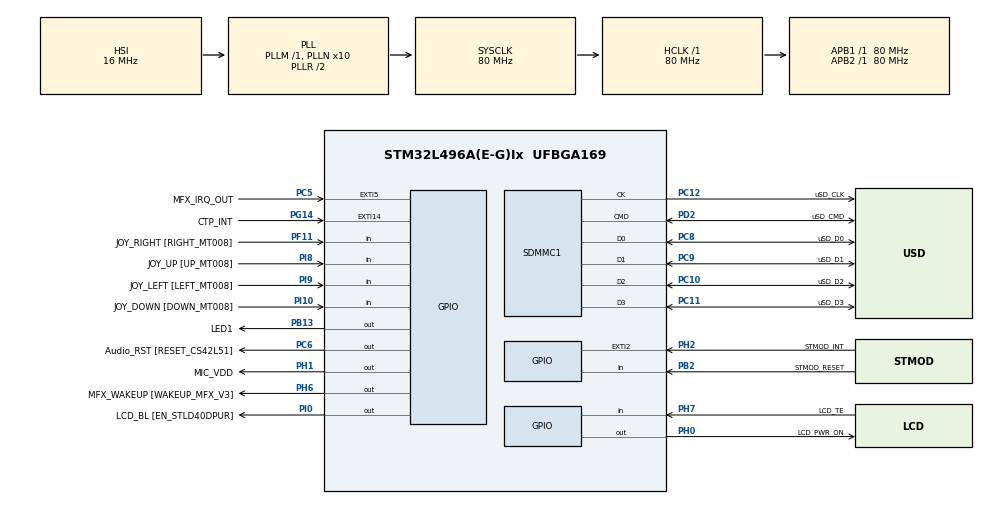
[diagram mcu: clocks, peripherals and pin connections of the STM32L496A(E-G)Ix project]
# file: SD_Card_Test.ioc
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Dma.Request0=SDMMC1
Dma.SDMMC1.0.Direction=DMA_PERIPH_TO_MEMORY
Dma.SDMMC1.0.Instance=DMA2_Channel4
Dma.SDMMC1.0.MemDataAlignment=DMA_MDATAALIGN_WORD
Dma.SDMMC1.0.MemInc=DMA_MINC_ENABLE
Dma.SDMMC1.0.Mode=DMA_NORMAL
Dma.SDMMC1.0.PeriphDataAlignment=DMA_PDATAALIGN_WORD
Dma.SDMMC1.0.PeriphInc=DMA_PINC_DISABLE
Dma.SDMMC1.0.Priority=DMA_PRIORITY_LOW
FATFS.USE_DMA_CODE_SD=1
FREERTOS.Tasks01=defaultTask,0,1000,StartDefaultTask,Default,NULL,Dynamic,NULL,NULL
FREERTOS.configTOTAL_HEAP_SIZE=10000
FREERTOS.configUSE_NEWLIB_REENTRANT=1
Mcu.Family=STM32L4
Mcu.Name=STM32L496A(E-G)Ix
Mcu.Package=UFBGA169
NVIC.DMA2_Channel4_IRQn=true\:5\:0\:false\:false\:true\:true\:false\:true\:true
NVIC.PriorityGroup=NVIC_PRIORITYGROUP_4
NVIC.SDMMC1_IRQn=true\:5\:0\:false\:false\:true\:true\:true\:true\:true
NVIC.TIM1_UP_TIM16_IRQn=true\:15\:0\:false\:false\:true\:false\:false\:true\:true
NVIC.TimeBase=TIM1_UP_TIM16_IRQn
NVIC.TimeBaseIP=TIM1
PA0.GPIO_Label=STMOD_PWM
PA0.Signal=SYS_WKUP1
PA1.GPIO_Label=ARD_A4
PA1.Signal=ADCx_IN6
PA10.GPIO_Label=USB_OTGFS_ID
PA10.Signal=USB_OTG_FS_ID
PA11.GPIO_Label=USB_OTGFS_DM
PA11.Signal=USB_OTG_FS_DM
PA12.GPIO_Label=USB_OTGFS_DP
PA12.Signal=USB_OTG_FS_DP
PA13\ (JTMS/SWDIO).GPIO_Label=SWDIO
PA13\ (JTMS/SWDIO).Signal=SYS_JTMS-SWDIO
PA14\ (JTCK/SWCLK).GPIO_Label=SWCLK
PA14\ (JTCK/SWCLK).Signal=SYS_JTCK-SWCLK
PA15\ (JTDI).GPIO_Label=ARD_D10
PA15\ (JTDI).Signal=SPI1_NSS
PA2.GPIO_Label=USART2_TX
PA2.Signal=USART2_TX
PA3.GPIO_Label=QSPI_CLK [MX25R6435FM2IL0_SCLK]
PA3.Signal=QUADSPI_CLK
PA4.GPIO_Label=STMOD_ADC
PA4.Signal=ADCx_IN9
PA5.GPIO_Label=ARD_D13
PA5.Signal=SPI1_SCK
PA6.GPIO_Label=QSPI_BK1_IO3 [MX25R6435FM2IL0_SIO3]
PA6.Signal=QUADSPI_BK1_IO3
PA7.GPIO_Label=QSPI_BK1_IO2 [MX25R6435FM2IL0_SIO2]
PA7.Signal=QUADSPI_BK1_IO2
PA8.GPIO_Label=DCMI_CLK
PA8.Signal=LPTIM2_OUT
PA9.GPIO_Label=USB_OTGFS_VBUS
PA9.Signal=USB_OTG_FS_VBUS
PB0.GPIO_Label=QSPI_BK1_IO1 [MX25R6435FM2IL0_SIO1]
PB0.Signal=QUADSPI_BK1_IO1
PB1.GPIO_Label=QSPI_BK1_IO0 [MX25R6435FM2IL0_SIO0]
PB1.Signal=QUADSPI_BK1_IO0
PB10.GPIO_Label=SAI1_CKA [SLCK_CS42L51]
PB10.Signal=SAI1_SCK_A
PB11.GPIO_Label=QSPI_BK1_NCS [MX25R6435FM2IL0_CS]
PB11.Signal=QUADSPI_BK1_NCS
PB12.GPIO_Label=DFDATIN1
PB12.Signal=S_DATAIN1DFSDM1
PB13.GPIO_Label=LED1
PB13.GPIO_ModeDefaultOutputPP=GPIO_MODE_OUTPUT_OD
PB13.GPIO_PuPd=GPIO_NOPULL
PB13.Signal=GPIO_Output
PB14.GPIO_Label=I2C2_SDA [CS42L51_SDA]
PB14.Signal=I2C2_SDA
PB15.GPIO_Label=SPI2_MOSI
PB15.Signal=SPI2_MOSI
PB2.GPIO_Label=STMOD_RESET
PB2.Signal=GPIO_Input
PB3\ (JTDO/TRACESWO).GPIO_Label=SWO
PB3\ (JTDO/TRACESWO).Signal=SYS_JTDO-SWO
PB4\ (NJTRST).GPIO_Label=ARD_D12
PB4\ (NJTRST).Signal=SPI1_MISO
PB5.GPIO_Label=ARD_D11
PB5.Signal=SPI1_MOSI
PB6.GPIO_Label=USART1_TX
PB6.Signal=USART1_TX
PB7.GPIO_Label=I2C1_SDA
PB7.Signal=I2C1_SDA
PB8.GPIO_Label=I2C1_SCL
PB8.Signal=I2C1_SCL
PB9.GPIO_Label=ARD_D5
PB9.Signal=S_TIM4_CH4
PC0.GPIO_Label=ARD_A5
PC0.Signal=ADCx_IN1
PC1.Signal=ADCx_IN2
PC10.GPIO_Label=uSD_D2
PC10.Mode=SD_4_bits_Wide_bus
PC10.Signal=SDMMC1_D2
PC11.GPIO_Label=uSD_D3
PC11.Mode=SD_4_bits_Wide_bus
PC11.Signal=SDMMC1_D3
PC12.GPIO_Label=uSD_CLK
PC12.Mode=SD_4_bits_Wide_bus
PC12.Signal=SDMMC1_CK
PC13.GPIO_Label=JOY_SEL [Selection_MT008]
PC13.Signal=SYS_WKUP2
PC14-OSC32_IN\ (PC14).Mode=LSE-External-Oscillator
PC14-OSC32_IN\ (PC14).Signal=RCC_OSC32_IN
PC15-OSC32_OUT\ (PC15).Mode=LSE-External-Oscillator
PC15-OSC32_OUT\ (PC15).Signal=RCC_OSC32_OUT
PC2.GPIO_Label=DF_CKOUT
PC2.Signal=S_CKOUTDFSDM1
PC3.GPIO_Label=ARD_A2
PC3.Signal=ADCx_IN4
PC4.GPIO_Label=ARD_A0
PC4.Signal=ADCx_IN13
PC5.GPIO_Label=MFX_IRQ_OUT
PC5.Signal=GPXTI5
PC6.GPIO_Label=Audio_RST [RESET_CS42L51]
PC6.Signal=GPIO_Output
PC7.GPIO_Label=DATIN3 [DOUT_MP34DT01TR]
PC7.Signal=S_DATAIN3DFSDM1
PC8.GPIO_Label=uSD_D0
PC8.Mode=SD_4_bits_Wide_bus
PC8.Signal=SDMMC1_D0
PC9.GPIO_Label=uSD_D1
PC9.Mode=SD_4_bits_Wide_bus
PC9.Signal=SDMMC1_D1
PD0.GPIO_Label=D2 [D2_ IS66WV51216EBLL]
PD0.Signal=FMC_D2_DA2
PD1.GPIO_Label=D3 [D3_IS66WV51216EBLL]
PD1.Signal=FMC_D3_DA3
PD10.GPIO_Label=D15 [D15_IS66WV51216EBLL]
PD10.Signal=FMC_D15_DA15
PD11.GPIO_Label=PSRAM_A16 [A16_IS66WV51216EBLL]
PD11.Signal=FMC_A16_CLE
PD12.GPIO_Label=PSRAM_A17 [A17_IS66WV51216EBLL]
PD12.Signal=FMC_A17_ALE
PD13.GPIO_Label=PSRAM_A18_LCD_RS [A18_IS66WV51216EBLL]
PD13.Signal=FMC_A18
PD14.GPIO_Label=D0 [D0_IS66WV51216EBLL]
PD14.Signal=FMC_D0_DA0
PD15.GPIO_Label=D1 [D1_IS66WV51216EBLL]
PD15.Signal=FMC_D1_DA1
PD2.GPIO_Label=uSD_CMD
PD2.Mode=SD_4_bits_Wide_bus
PD2.Signal=SDMMC1_CMD
PD4.GPIO_Label=OE [OE_IS66WV51216EBLL]
PD4.Signal=FMC_NOE
PD5.GPIO_Label=WE [WE_IS66WV51216EBLL]
PD5.Signal=FMC_NWE
PD6.GPIO_Label=USART2_RX
PD6.Signal=USART2_RX
PD7.GPIO_Label=LCD_NE
PD7.Signal=FMC_NE1
PD8.GPIO_Label=D13 [D13_IS66WV51216EBLL]
PD8.Signal=FMC_D13_DA13
PD9.GPIO_Label=D14 [D14_IS66WV51216EBLL]
PD9.Signal=FMC_D14_DA14
PE0.GPIO_Label=PSRAM_NBL0 [LB_IS66WV51216EBLL]
PE0.Signal=FMC_NBL0
PE1.GPIO_Label=PSRAM_NBL1 [UB_IS66WV51216EBLL]
PE1.Signal=FMC_NBL1
PE10.GPIO_Label=D7 [D7_IS66WV51216EBLL]
PE10.Signal=FMC_D7_DA7
PE11.GPIO_Label=D8  [D8_IS66WV51216EBLL]
PE11.Signal=FMC_D8_DA8
PE12.GPIO_Label=D9 [D9_IS66WV51216EBLL]
PE12.Signal=FMC_D9_DA9
PE13.GPIO_Label=D10 [D10_IS66WV51216EBLL]
PE13.Signal=FMC_D10_DA10
PE14.GPIO_Label=D11 [D11_IS66WV51216EBLL]
PE14.Signal=FMC_D11_DA11
PE15.GPIO_Label=D12 [D12_IS66WV51216EBLL]
PE15.Signal=FMC_D12_DA12
PE2.GPIO_Label=SAI1_MCKA [MCLK_CS42L51]
PE2.Signal=SAI1_MCLK_A
PE3.GPIO_Label=SAI1_SDB [SDOUT_CS42L51]
PE3.Signal=SAI1_SD_B
PE4.GPIO_Label=SAI1_FSA [LRCK_CS42L51]]
PE4.Signal=SAI1_FS_A
PE5.GPIO_Label=DCMI_D6
PE5.Signal=DCMI_D6
PE6.GPIO_Label=SAI1_SDA [SDIN_CS42L51]
PE6.Signal=SAI1_SD_A
PE7.GPIO_Label=D4 [D4_IS66WV51216EBLL]
PE7.Signal=FMC_D4_DA4
PE8.GPIO_Label=D5 [D5_IS66WV51216EBLL]
PE8.Signal=FMC_D5_DA5
PE9.GPIO_Label=D6 [D6_IS66WV51216EBLL]
PE9.Signal=FMC_D6_DA6
PF0.GPIO_Label=PSRAM_A0 [A0_IS66WV51216EBLL]
PF0.Signal=FMC_A0
PF1.GPIO_Label=PSRAM_A1 [A1_IS66WV51216EBLL]
PF1.Signal=FMC_A1
PF10.GPIO_Label=ARD_A3
PF10.Signal=ADC3_IN13
PF11.GPIO_Label=JOY_RIGHT [RIGHT_MT008]
PF11.GPIO_PuPd=GPIO_PULLDOWN
PF11.Signal=GPIO_Input
PF12.GPIO_Label=PSRAM_A6 [A6_IS66WV51216EBLL]
PF12.Signal=FMC_A6
PF13.GPIO_Label=PSRAM_A7 [A7_IS66WV51216EBLL]
PF13.Signal=FMC_A7
PF14.GPIO_Label=PSRAM_A8 [A8_IS66WV51216EBLL]
PF14.Signal=FMC_A8
PF15.GPIO_Label=PSRAM_A9 [A9_IS66WV51216EBLL]
PF15.Signal=FMC_A9
PF2.GPIO_Label=PSRAM_A2 [A2_IS66WV51216EBLL]
PF2.Signal=FMC_A2
PF3.GPIO_Label=PSRAM_A3 [A3_IS66WV51216EBLL]
PF3.Signal=FMC_A3
PF4.GPIO_Label=PSRAM_A4 [A4_IS66WV51216EBLL]
PF4.Signal=FMC_A4
PF5.GPIO_Label=PSRAM_A5 [A5_IS66WV51216EBLL]
PF5.Signal=FMC_A5
PG0.GPIO_Label=PSRAM_A10 [A10_IS66WV51216EBLL]
PG0.Signal=FMC_A10
PG1.GPIO_Label=PSRAM_A11 [A11_IS66WV51216EBLL]
PG1.Signal=FMC_A11
PG10.GPIO_Label=UART1_RX [STMOD+_UART]
PG10.Signal=USART1_RX
PG11.GPIO_Label=UART1_CTS [STMOD+_UART]
PG11.Signal=USART1_CTS
PG12.GPIO_Label=UART1_RTS [STMOD+_UART]
PG12.Signal=USART1_RTS
PG14.GPIO_Label=CTP_INT
PG14.Signal=GPXTI14
PG2.GPIO_Label=PSRAM_A12 [A12_IS66WV51216EBLL]
PG2.Signal=FMC_A12
PG3.GPIO_Label=PSRAM_A13 [A13_IS66WV51216EBLL]
PG3.Signal=FMC_A13
PG4.GPIO_Label=PSRAM_A14 [A14_IS66WV51216EBLL]
PG4.Signal=FMC_A14
PG5.GPIO_Label=PSRAM_A15 [A15_IS66WV51216EBLL]
PG5.Signal=FMC_A15
PG7.GPIO_Label=ARD_D1
PG7.Signal=LPUART1_TX
PG8.GPIO_Label=ARD_D0
PG8.Signal=LPUART1_RX
PG9.GPIO_Label=PSRAM_NE [CS1_IS66WV51216EBLL]
PG9.Signal=FMC_NE2
PH0-OSC_IN\ (PH0).GPIO_Label=LCD_PWR_ON
PH0-OSC_IN\ (PH0).Signal=GPIO_Output
PH1-OSC_OUT\ (PH1).GPIO_Label=MIC_VDD
PH1-OSC_OUT\ (PH1).Signal=GPIO_Output
PH10.GPIO_Label=DCMI_D1
PH10.Signal=DCMI_D1
PH11.GPIO_Label=DCMI_D2
PH11.Signal=DCMI_D2
PH12.GPIO_Label=DCMI_D3
PH12.Signal=DCMI_D3
PH13.GPIO_Label=ARD_D9
PH13.Signal=TIM8_CH1N
PH14.GPIO_Label=DCMI_D4
PH14.Signal=DCMI_D4
PH15.GPIO_Label=ARD_D3
PH15.Signal=TIM8_CH3N
PH2.GPIO_Label=STMOD_INT
PH2.Signal=GPXTI2
PH4.GPIO_Label=I2C2_SCL [SCL_CS42L51]
PH4.Signal=I2C2_SCL
PH5.GPIO_Label=DCMI_PIXCK
PH5.Signal=DCMI_PIXCLK
PH6.GPIO_Label=MFX_WAKEUP [WAKEUP_MFX_V3]
PH6.Signal=GPIO_Output
PH7.GPIO_Label=LCD_TE
PH7.Signal=GPIO_Input
PH8.GPIO_Label=DCMI_HSYNC
PH8.Signal=DCMI_HSYNC
PH9.GPIO_Label=DCMI_D0
PH9.Signal=DCMI_D0
PI0.GPIO_Label=LCD_BL [EN_STLD40DPUR]
PI0.Signal=GPIO_Output
PI1.GPIO_Label=SPI2_CLK [STMOD+_SPI]
PI1.Signal=SPI2_SCK
PI10.GPIO_Label=JOY_DOWN [DOWN_MT008]
PI10.GPIO_PuPd=GPIO_PULLDOWN
PI10.Signal=GPIO_Input
PI2.GPIO_Label=SPI2_MISO [STMOD+_SPI]
PI2.Signal=SPI2_MISO
PI4.GPIO_Label=DCMI_D5
PI4.Signal=DCMI_D5
PI5.GPIO_Label=DCMI_VSYNC
PI5.Signal=DCMI_VSYNC
PI6.GPIO_Label=ARD_D6
PI6.Signal=S_TIM8_CH2
PI7.GPIO_Label=DCMI_D7
PI7.Signal=DCMI_D7
PI8.GPIO_Label=JOY_UP [UP_MT008]
PI8.GPIO_PuPd=GPIO_PULLDOWN
PI8.Signal=GPIO_Input
PI9.GPIO_Label=JOY_LEFT [LEFT_MT008]
PI9.GPIO_PuPd=GPIO_PULLDOWN
PI9.Signal=GPIO_Input
ProjectManager.HeapSize=0x400
ProjectManager.StackSize=0x800
ProjectManager.TargetToolchain=STM32CubeIDE
RCC.ADCFreq_Value=64000000
RCC.AHBFreq_Value=80000000
RCC.APB1Freq_Value=80000000
RCC.APB1TimFreq_Value=80000000
RCC.APB2Freq_Value=80000000
RCC.APB2TimFreq_Value=80000000
RCC.CK48CLockSelection=RCC_USBCLKSOURCE_HSI48
RCC.CortexFreq_Value=80000000
RCC.HCLKFreq_Value=80000000
RCC.HSE_VALUE=8000000
RCC.HSI48_VALUE=48000000
RCC.HSI_VALUE=16000000
RCC.MSIClockRange=RCC_MSIRANGE_9
RCC.MSI_VALUE=24000000
RCC.PLLN=10
RCC.PLLSAI1Q=RCC_PLLQ_DIV4
RCC.PLLSourceVirtual=RCC_PLLSOURCE_HSI
RCC.SYSCLKFreq_VALUE=80000000
RCC.SYSCLKSource=RCC_SYSCLKSOURCE_PLLCLK
RCC.USBFreq_Value=48000000
RCC.VCOOutputFreq_Value=160000000
SDMMC1.ClockDiv=2
SH.ADCx_IN1.0=ADC2_IN1
SH.ADCx_IN13.0=ADC1_IN13
SH.ADCx_IN2.0=ADC2_IN2
SH.ADCx_IN4.0=ADC1_IN4
SH.ADCx_IN6.0=ADC2_IN6
SH.ADCx_IN9.0=ADC2_IN9
SH.FMC_A0.0=FMC_A0
SH.FMC_A1.0=FMC_A1
SH.FMC_A10.0=FMC_A10
SH.FMC_A11.0=FMC_A11
SH.FMC_A12.0=FMC_A12
SH.FMC_A13.0=FMC_A13
SH.FMC_A14.0=FMC_A14
SH.FMC_A15.0=FMC_A15
SH.FMC_A16_CLE.0=FMC_A16
SH.FMC_A17_ALE.0=FMC_A17
SH.FMC_A18.0=FMC_A18
SH.FMC_A2.0=FMC_A2
SH.FMC_A3.0=FMC_A3
SH.FMC_A4.0=FMC_A4
SH.FMC_A5.0=FMC_A5
SH.FMC_A6.0=FMC_A6
SH.FMC_A7.0=FMC_A7
SH.FMC_A8.0=FMC_A8
SH.FMC_A9.0=FMC_A9
SH.FMC_D0_DA0.0=FMC_D0
SH.FMC_D10_DA10.0=FMC_D10
SH.FMC_D11_DA11.0=FMC_D11
SH.FMC_D12_DA12.0=FMC_D12
SH.FMC_D13_DA13.0=FMC_D13
SH.FMC_D14_DA14.0=FMC_D14
SH.FMC_D15_DA15.0=FMC_D15
SH.FMC_D1_DA1.0=FMC_D1
SH.FMC_D2_DA2.0=FMC_D2
SH.FMC_D3_DA3.0=FMC_D3
SH.FMC_D4_DA4.0=FMC_D4
SH.FMC_D5_DA5.0=FMC_D5
SH.FMC_D6_DA6.0=FMC_D6
SH.FMC_D7_DA7.0=FMC_D7
SH.FMC_D8_DA8.0=FMC_D8
SH.FMC_D9_DA9.0=FMC_D9
SH.FMC_NBL0.0=FMC_NBL0
SH.FMC_NBL1.0=FMC_NBL1
SH.FMC_NOE.0=FMC_NOE
SH.FMC_NWE.0=FMC_NWE
SH.S_CKOUTDFSDM1.0=DFSDM1_CKOUT
SH.S_DATAIN1DFSDM1.0=DFSDM1_DATIN1
SH.S_DATAIN3DFSDM1.0=DFSDM1_DATIN3
SH.S_TIM4_CH4.0=TIM4_CH4
SH.S_TIM8_CH2.0=TIM8_CH2
VP_FATFS_VS_SDIO.Mode=SDIO
VP_FREERTOS_VS_CMSIS_V1.Mode=CMSIS_V1
VP_SYS_VS_tim1.Mode=TIM1
board=STM32L496G-DISCO

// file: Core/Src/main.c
/* USER CODE BEGIN Header */
/**
  ******************************************************************************
  * @file           : main.c
  * @brief          : Main program body
  ******************************************************************************
  * @attention
  *
  * Copyright (c) 2022 STMicroelectronics.
  * All rights reserved.
  *
  * This software is licensed under terms that can be found in the LICENSE file
  * in the root directory of this software component.
  * If no LICENSE file comes with this software, it is provided AS-IS.
  *
  ******************************************************************************
  */
/* USER CODE END Header */
#include "main.h"
#include "cmsis_os.h"
#include "dma.h"
#include "fatfs.h"
#include "sdmmc.h"
#include "gpio.h"

void SystemClock_Config(void);
void MX_FREERTOS_Init(void);

int main(void)
{

  /* MCU Configuration--------------------------------------------------------*/

  /* Reset of all peripherals, Initializes the Flash interface and the Systick. */
  HAL_Init();

  /* Configure the system clock */
  SystemClock_Config();

  /* Initialize all configured peripherals */
  MX_GPIO_Init();
  MX_DMA_Init();
  MX_SDMMC1_SD_Init();
  MX_FATFS_Init();
  /* USER CODE BEGIN 2 */
  MX_SDMMC1_SD_Init();  // init later
  MX_FATFS_Init();		// init later

  /* USER CODE END 2 */

  /* Call init function for freertos objects (in freertos.c) */
  MX_FREERTOS_Init();

  /* Start scheduler */
  osKernelStart();

  /* We should never get here as control is now taken by the scheduler */
  /* Infinite loop */
  /* USER CODE BEGIN WHILE */
  HAL_GPIO_WritePin(LED1_GPIO_Port,LED1_Pin, SET);

  while (1)
  {
	  HAL_GPIO_TogglePin(LED1_GPIO_Port,LED1_Pin);
	  HAL_Delay(1000);
    /* USER CODE END WHILE */

  }
}

void SystemClock_Config(void)
{
  RCC_OscInitTypeDef RCC_OscInitStruct = {0};
  RCC_ClkInitTypeDef RCC_ClkInitStruct = {0};

  /** Configure the main internal regulator output voltage
  */
  if (HAL_PWREx_ControlVoltageScaling(PWR_REGULATOR_VOLTAGE_SCALE1) != HAL_OK)
  {
    Error_Handler();
  }

  /** Initializes the RCC Oscillators according to the specified parameters
  * in the RCC_OscInitTypeDef structure.
  */
  RCC_OscInitStruct.OscillatorType = RCC_OSCILLATORTYPE_HSI48|RCC_OSCILLATORTYPE_HSI;
  RCC_OscInitStruct.HSIState = RCC_HSI_ON;
  RCC_OscInitStruct.HSI48State = RCC_HSI48_ON;
  RCC_OscInitStruct.HSICalibrationValue = RCC_HSICALIBRATION_DEFAULT;
  RCC_OscInitStruct.PLL.PLLState = RCC_PLL_ON;
  RCC_OscInitStruct.PLL.PLLSource = RCC_PLLSOURCE_HSI;
  RCC_OscInitStruct.PLL.PLLM = 1;
  RCC_OscInitStruct.PLL.PLLN = 10;
  RCC_OscInitStruct.PLL.PLLP = RCC_PLLP_DIV2;
  RCC_OscInitStruct.PLL.PLLQ = RCC_PLLQ_DIV2;
  RCC_OscInitStruct.PLL.PLLR = RCC_PLLR_DIV2;
  if (HAL_RCC_OscConfig(&RCC_OscInitStruct) != HAL_OK)
  {
    Error_Handler();
  }

  /** Initializes the CPU, AHB and APB buses clocks
  */
  RCC_ClkInitStruct.ClockType = RCC_CLOCKTYPE_HCLK|RCC_CLOCKTYPE_SYSCLK
                              |RCC_CLOCKTYPE_PCLK1|RCC_CLOCKTYPE_PCLK2;
  RCC_ClkInitStruct.SYSCLKSource = RCC_SYSCLKSOURCE_PLLCLK;
  RCC_ClkInitStruct.AHBCLKDivider = RCC_SYSCLK_DIV1;
  RCC_ClkInitStruct.APB1CLKDivider = RCC_HCLK_DIV1;
  RCC_ClkInitStruct.APB2CLKDivider = RCC_HCLK_DIV1;

  if (HAL_RCC_ClockConfig(&RCC_ClkInitStruct, FLASH_LATENCY_4) != HAL_OK)
  {
    Error_Handler();
  }
}

void HAL_TIM_PeriodElapsedCallback(TIM_HandleTypeDef *htim)
{
  if (htim->Instance == TIM1) {
    HAL_IncTick();
  }
}

void Error_Handler(void)
{
  __disable_irq();
  while (1)
  {
  }
}

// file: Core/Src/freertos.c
/* USER CODE BEGIN Header */
/**
  ******************************************************************************
  * File Name          : freertos.c
  * Description        : Code for freertos applications
  ******************************************************************************
  * @attention
  *
  * Copyright (c) 2022 STMicroelectronics.
  * All rights reserved.
  *
  * This software is licensed under terms that can be found in the LICENSE file
  * in the root directory of this software component.
  * If no LICENSE file comes with this software, it is provided AS-IS.
  *
  ******************************************************************************
  */
/* USER CODE END Header */

#include "FreeRTOS.h"
#include "task.h"
#include "main.h"
#include "cmsis_os.h"

/* USER CODE BEGIN Includes */
#include "fatfs.h"
/* USER CODE END Includes */

/* USER CODE BEGIN PTD */
#define MAINAPP_STACK_SIZE 512  // Stack size in words
/* USER CODE END PTD */

osThreadId defaultTaskHandle;

/* USER CODE BEGIN FunctionPrototypes */
TaskHandle_t LedBlueTaskHandle = NULL;
void LedBlueTask( void * pvParameters );
/* USER CODE END FunctionPrototypes */

void StartDefaultTask(void const * argument);

void MX_FREERTOS_Init(void); /* (MISRA C 2004 rule 8.1) */

/* GetIdleTaskMemory prototype (linked to static allocation support) */
void vApplicationGetIdleTaskMemory( StaticTask_t **ppxIdleTaskTCBBuffer, StackType_t **ppxIdleTaskStackBuffer, uint32_t *pulIdleTaskStackSize );

/* USER CODE BEGIN GET_IDLE_TASK_MEMORY */
static StaticTask_t xIdleTaskTCBBuffer;
static StackType_t xIdleStack[configMINIMAL_STACK_SIZE];

void vApplicationGetIdleTaskMemory( StaticTask_t **ppxIdleTaskTCBBuffer, StackType_t **ppxIdleTaskStackBuffer, uint32_t *pulIdleTaskStackSize )
{
  *ppxIdleTaskTCBBuffer = &xIdleTaskTCBBuffer;
  *ppxIdleTaskStackBuffer = &xIdleStack[0];
  *pulIdleTaskStackSize = configMINIMAL_STACK_SIZE;
  /* place for user code */
}
/* USER CODE END GET_IDLE_TASK_MEMORY */

void MX_FREERTOS_Init(void) {

  /* Create the thread(s) */
  /* definition and creation of defaultTask */
  osThreadDef(defaultTask, StartDefaultTask, osPriorityNormal, 0, 1000);
  defaultTaskHandle = osThreadCreate(osThread(defaultTask), NULL);

}

/* USER CODE BEGIN Header_StartDefaultTask */
/**
  * @brief  Function implementing the defaultTask thread.
  * @param  argument: Not used
  * @retval None
  */

uint8_t SD_FileOperationsTest();

/* USER CODE END Header_StartDefaultTask */
void StartDefaultTask(void const * argument)
{
  /* USER CODE BEGIN StartDefaultTask */
	//static int cnt = 0;
  volatile uint8_t result = 10;

  result = SD_FileOperationsTest();

  if(result == FR_OK){

	  BaseType_t ret;
	  ret = xTaskCreate( LedBlueTask, "Led Blue task", MAINAPP_STACK_SIZE, NULL, 1, &LedBlueTaskHandle );
	  if ( ret != pdPASS ) for ( ;; ) {
	  }

	  vTaskDelete( NULL );
  }

  /* Infinite loop */
  for(;;)
  {
	HAL_GPIO_TogglePin(LED1_GPIO_Port,LED1_Pin);
    osDelay(150);
  }
  /* USER CODE END StartDefaultTask */
}

/* USER CODE BEGIN Application */

/**
 *  AW
  * @brief  Initializes SD Card and keeps it linked
  * 		SD Card is not UNLINKED from now on!
  * @param  None
  * @retval 0 == all fine
  * 		1+ == errors
  */

uint8_t SD_FileOperationsTest()
{
  FRESULT res;
  uint32_t byteswritten, bytesread;                     // File write/read counts
  uint8_t wtext[] = "STM32L496 AW: This is AW working with FatFs uSD + DMA + FreeRTOS + USB"; // File write buffer
  uint8_t rtext[100];                                   // File read buffer
  char fileNameIntern[40] = "STM32_AW_extendendFilename.TXT";

  // Register the file system object to the FatFs module /
  if(f_mount(&SDFatFS, (TCHAR const*)SDPath, 0) == FR_OK)
  {
    // Create and Open a new text file object with write access
    //if(f_open(&SDFile, "STM32_AW.TXT", FA_CREATE_ALWAYS | FA_WRITE) == FR_OK)
    if(f_open(&SDFile, fileNameIntern, FA_CREATE_ALWAYS | FA_WRITE) == FR_OK)
    {
      // Write data to the text file
      res = f_write(&SDFile, wtext, sizeof(wtext), (void *)&byteswritten);

      if((byteswritten > 0) && (res == FR_OK))
      {
        // Close the open text file
        f_close(&SDFile);

        // Open the text file object with read access
        if(f_open(&SDFile, fileNameIntern, FA_READ) == FR_OK)
        {
          // Read data from the text file
          res = f_read(&SDFile, rtext, sizeof(rtext), (void *)&bytesread);

          if((bytesread > 0) && (res == FR_OK))
          {
            // Close the open text file
           res = f_close(&SDFile);
           if(res == FR_OK)
        	 // res = f_unlink( fileNameIntern);	// deleting File

            // Compare read data with the expected data
            if((bytesread == byteswritten)  && (res == FR_OK) )
            {
              // Success of the demo: no error occurrence
              return FR_OK;
            }
          }
        }
      }
    }
  }
  // Error
  // FATFS_UnLinkDriver(USERPath);
  return res;
}

/* ====================================================================
 * @brief  Main application task
 * @param  *pvParameters: Task parameters (unused)
 * @retval None
 * ==================================================================== */
void LedBlueTask( void * pvParameters )
{

  // Main event loop
  for ( ;; ) {
	  HAL_GPIO_TogglePin(LED1_GPIO_Port,LED1_Pin);
	  osDelay(800);
  }

  // Delete task
  vTaskDelete( NULL );

}

/* USER CODE END Application */
